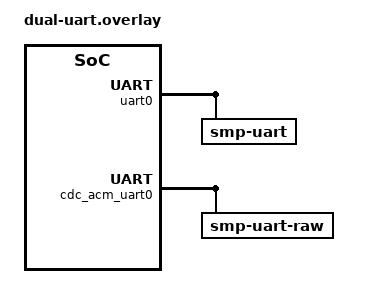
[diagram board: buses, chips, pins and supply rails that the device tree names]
/*
 * SPDX-FileCopyrightText: Copyright The Zephyr Project Contributors
 *
 * SPDX-License-Identifier: Apache-2.0
 */

/* SMP over console on the console UART, shared with logs, and raw SMP on USB CDC ACM */

&uart0 {
	smp-uart {
		compatible = "zephyr,smp-uart";
	};
};

&zephyr_udc0 {
	cdc_acm_uart0: cdc_acm_uart0 {
		compatible = "zephyr,cdc-acm-uart";
		hw-flow-control;

		smp-uart-raw {
			compatible = "zephyr,smp-uart-raw";
		};
	};
};
